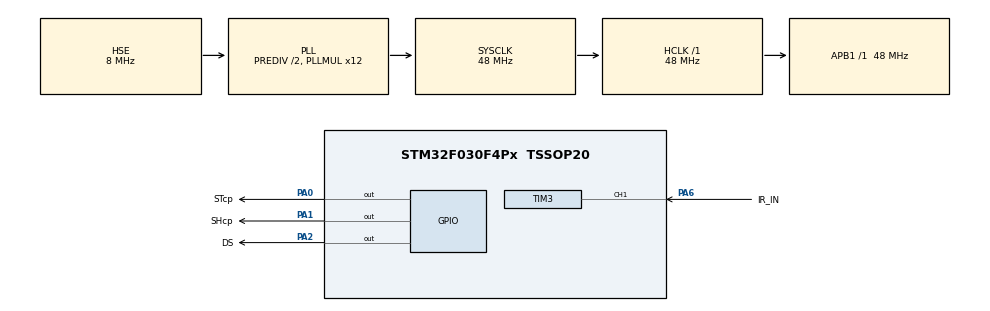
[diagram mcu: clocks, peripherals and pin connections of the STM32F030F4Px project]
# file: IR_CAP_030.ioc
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Mcu.Family=STM32F0
Mcu.Name=STM32F030F4Px
Mcu.Package=TSSOP20
NVIC.TIM14_IRQn=true\:0\:0\:false\:false\:true\:true\:true
NVIC.TIM3_IRQn=true\:0\:0\:false\:false\:true\:true\:true
PA0.GPIO_Label=STcp
PA0.GPIO_Speed=GPIO_SPEED_FREQ_HIGH
PA0.Signal=GPIO_Output
PA1.GPIO_Label=SHcp
PA1.GPIO_Speed=GPIO_SPEED_FREQ_HIGH
PA1.Signal=GPIO_Output
PA13.Mode=Serial_Wire
PA13.Signal=SYS_SWDIO
PA14.Mode=Serial_Wire
PA14.Signal=SYS_SWCLK
PA2.GPIO_Label=DS
PA2.GPIO_Speed=GPIO_SPEED_FREQ_HIGH
PA2.Signal=GPIO_Output
PA6.GPIO_Label=IR_IN
PA6.GPIO_PuPd=GPIO_NOPULL
PA6.Signal=S_TIM3_CH1
PF0-OSC_IN.Mode=HSE-External-Oscillator
PF0-OSC_IN.Signal=RCC_OSC_IN
PF1-OSC_OUT.Mode=HSE-External-Oscillator
PF1-OSC_OUT.Signal=RCC_OSC_OUT
ProjectManager.HeapSize=0x200
ProjectManager.StackSize=0x400
ProjectManager.TargetToolchain=EWARM V8
RCC.AHBFreq_Value=48000000
RCC.APB1Freq_Value=48000000
RCC.APB1TimFreq_Value=48000000
RCC.HCLKFreq_Value=48000000
RCC.PLLDivider=RCC_PREDIV_DIV2
RCC.PLLMUL=RCC_PLL_MUL12
RCC.PLLSourceVirtual=RCC_PLLSOURCE_HSE
RCC.SYSCLKFreq_VALUE=48000000
RCC.SYSCLKSource=RCC_SYSCLKSOURCE_PLLCLK
SH.S_TIM3_CH1.0=TIM3_CH1,Input_Capture1_from_TI1
SH.S_TIM3_CH1.1=TIM3_CH1,Input_Capture2_from_TI1
TIM14.AutoReloadPreload=TIM_AUTORELOAD_PRELOAD_ENABLE
TIM14.Period=1000
TIM14.Prescaler=4799
TIM3.AutoReloadPreload=TIM_AUTORELOAD_PRELOAD_ENABLE
TIM3.Channel-Input_Capture1_from_TI1=TIM_CHANNEL_1
TIM3.Channel-Input_Capture2_from_TI1=TIM_CHANNEL_2
TIM3.ICPolarity_CH1=TIM_INPUTCHANNELPOLARITY_FALLING
TIM3.Period=6000
TIM3.Prescaler=47
VP_TIM14_VS_ClockSourceINT.Mode=Enable_Timer
VP_TIM3_VS_ClockSourceINT.Mode=Internal
board=custom

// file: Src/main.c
/* USER CODE BEGIN Header */
/**
  ******************************************************************************
  * @file           : main.c
  * @brief          : Main program body
  ******************************************************************************
  * @attention
  *
  * <h2><center>&copy; Copyright (c) 2019 STMicroelectronics.
  * All rights reserved.</center></h2>
  *
  * This software component is licensed by ST under BSD 3-Clause license,
  * the "License"; You may not use this file except in compliance with the
  * License. You may obtain a copy of the License at:
  *                        opensource.org/licenses/BSD-3-Clause
  *
  ******************************************************************************
  */
/* USER CODE END Header */

#include "main.h"
#include "tim.h"
#include "gpio.h"

/* USER CODE BEGIN Includes */
#include "display.h"
#include "DisplayDrive.h"
/* USER CODE END Includes */

void SystemClock_Config(void);

/* USER CODE BEGIN 0 */
uint8_t recvData[7] = {0};
extern uint8_t revok_flag;
extern unsigned char DisBuffer[16];
static uint8_t update_flag = 1;
static uint8_t disOFF_flag = 0;
static uint8_t rev3_flag = 0;
static uint8_t rev2_flag = 0;
static uint8_t fallCnt = 0;  //失败前计数
static uint8_t capID[3] = {0};
/* USER CODE END 0 */

int main(void)
{

  /* MCU Configuration--------------------------------------------------------*/

  /* Reset of all peripherals, Initializes the Flash interface and the Systick. */
  HAL_Init();

  /* Configure the system clock */
  SystemClock_Config();

  /* Initialize all configured peripherals */
  MX_GPIO_Init();
  MX_TIM3_Init();
  MX_TIM14_Init();
  /* USER CODE BEGIN 2 */
  HAL_TIM_Base_Start_IT(&htim14);

  //  HAL_TIM_PWM_Start(&htim3, TIM_CHANNEL_1);
  HAL_TIM_Base_Start(&htim3);
  HAL_TIM_IC_Start_IT(&htim3, TIM_CHANNEL_1);
  HAL_TIM_IC_Start_IT(&htim3, TIM_CHANNEL_2);

    Dis5 = 23;
    Dis6 = 23;
    Dis7 = 23;
    Dis8 = 23;
    DisBuffer[14]=  23;
    DisBuffer[15]=  23;
  /* USER CODE END 2 */

  /* Infinite loop */
  /* USER CODE BEGIN WHILE */
  while (1)
  {
#if 0
    for(;;){
    for (int i = 0; i <16; i++)
    {
      Dis1 = i;
      Dis2 = i+1;
      Dis3 = i+2;
      Dis4 = i+3;
      Dis5 = i+4;
      Dis6 = i+5;
      Dis7 = i+6;
      Dis8 = i+7;

      uint32_t j = 0;
      for (j=0; j < 0xffff; j++)
      {
        DisplayValue();
      }
    }

    }
#endif
    if (revok_flag)
    {
      revok_flag = 0;
      disOFF_flag = 0;
      //        printf("Test: [%X], [%X], [%X], [%X], [%X], [%X], [%X].\r\n",recvData[0],\
//                        recvData[1],recvData[2],recvData[3],recvData[4],\
//                        recvData[5],recvData[6]  );
      if (update_flag)
      {
        fallCnt++;
        Dis2 = recvData[2] % 10;
        Dis1 = (recvData[2] / 10) % 10;
        Dis4 = recvData[1] % 10;
        Dis3 = (recvData[1] / 10) % 10;

        DisBuffer[8]=   recvData[3]&0x0F;
        DisBuffer[9]=   recvData[3]>>4;
        DisBuffer[10]=  recvData[4]&0x0F;;
        DisBuffer[11]=  recvData[4]>>4;
        DisBuffer[12]=  recvData[5]&0x0F;;
        DisBuffer[13]=  recvData[5]>>4;

 //       if (((recvData[1] == 2) && (recvData[2] == 3)) ||((recvData[1] == 3) && (recvData[2] == 2)))
 //       if (1==1)
        if (recvData[2] == 3)
        {
          Dis7 = 3;
          rev3_flag = 1;
        }
        if (recvData[2] == 2)
        {
          Dis8 = 2;
          rev2_flag  = 1;

        }
        if( fallCnt > 1){
          if (( capID[0]!= recvData[3])||(capID[1] != recvData[4])||(capID[2] != recvData[5]))
          {
            fallCnt = 0;
            update_flag = 0;
            Dis1 = 19;
            Dis2 = 17;
            Dis3 = 20;
            Dis4 = 20;
            Dis5 = 19;
            Dis6 = 19;
            Dis7 = 19;
            Dis8 = 19;
            DisBuffer[8]=   23;
            DisBuffer[9]=   23;
            DisBuffer[10]=  23;
            DisBuffer[11]=  23;
            DisBuffer[12]=  23;
            DisBuffer[13]=  23;
            goto Next_end;
          }
        }else {
            capID[0]= recvData[3];
            capID[1] = recvData[4];
            capID[2] = recvData[5];
        }
          if ((rev2_flag) && (rev3_flag))
          {
            //            printf("<><><><<><<><><>><><<><><><><><<>><><");
            //            printf("\r\nTEST OK!\r\n");
            // HAL_Delay(2000);
            fallCnt = 0;
            update_flag = 0;
            Dis1 = 16;
            Dis2 = 17;
            Dis3 = 18;
            Dis4 = 18;
          }else if(fallCnt > 7){
            fallCnt = 0;
            update_flag = 0;
            Dis1 = 19;
            Dis2 = 17;
            Dis3 = 20;
            Dis4 = 20;
            Dis5 = 21;
            Dis6 = 21;
          }
      }
    }
Next_end:
    if (disOFF_flag)
    {
//      DisplayOFF();
      Dis7 = 23;
      Dis8 = 23;
        Dis5 = 23;
        Dis6 = 23;
       Dis1 = 0;
      Dis2 = 0;
       Dis3 = 0;
      Dis4 = 0;
      revok_flag = 0;
      update_flag = 1;
      rev2_flag = 0;
      rev3_flag = 0;
    }
    DisplayValue();
    /* USER CODE END WHILE */

  }
}

void SystemClock_Config(void)
{
  RCC_OscInitTypeDef RCC_OscInitStruct = {0};
  RCC_ClkInitTypeDef RCC_ClkInitStruct = {0};

  /** Initializes the CPU, AHB and APB busses clocks
  */
  RCC_OscInitStruct.OscillatorType = RCC_OSCILLATORTYPE_HSE;
  RCC_OscInitStruct.HSEState = RCC_HSE_ON;
  RCC_OscInitStruct.PLL.PLLState = RCC_PLL_ON;
  RCC_OscInitStruct.PLL.PLLSource = RCC_PLLSOURCE_HSE;
  RCC_OscInitStruct.PLL.PLLMUL = RCC_PLL_MUL12;
  RCC_OscInitStruct.PLL.PREDIV = RCC_PREDIV_DIV2;
  if (HAL_RCC_OscConfig(&RCC_OscInitStruct) != HAL_OK)
  {
    Error_Handler();
  }
  /** Initializes the CPU, AHB and APB busses clocks
  */
  RCC_ClkInitStruct.ClockType = RCC_CLOCKTYPE_HCLK|RCC_CLOCKTYPE_SYSCLK
                              |RCC_CLOCKTYPE_PCLK1;
  RCC_ClkInitStruct.SYSCLKSource = RCC_SYSCLKSOURCE_PLLCLK;
  RCC_ClkInitStruct.AHBCLKDivider = RCC_SYSCLK_DIV1;
  RCC_ClkInitStruct.APB1CLKDivider = RCC_HCLK_DIV1;

  if (HAL_RCC_ClockConfig(&RCC_ClkInitStruct, FLASH_LATENCY_1) != HAL_OK)
  {
    Error_Handler();
  }
}

/* USER CODE BEGIN 4 */

void HAL_TIM_PeriodElapsedCallback(TIM_HandleTypeDef *htim)
{
  static uint8_t cnt = 0;

  if (update_flag == 0)
  {

    cnt++;
    if (cnt > 30)
    {
      disOFF_flag = 1;
      cnt = 0;
    }
  }
}

/* USER CODE END 4 */

void Error_Handler(void)
{
}

/************************ (C) COPYRIGHT STMicroelectronics *****END OF FILE****/
